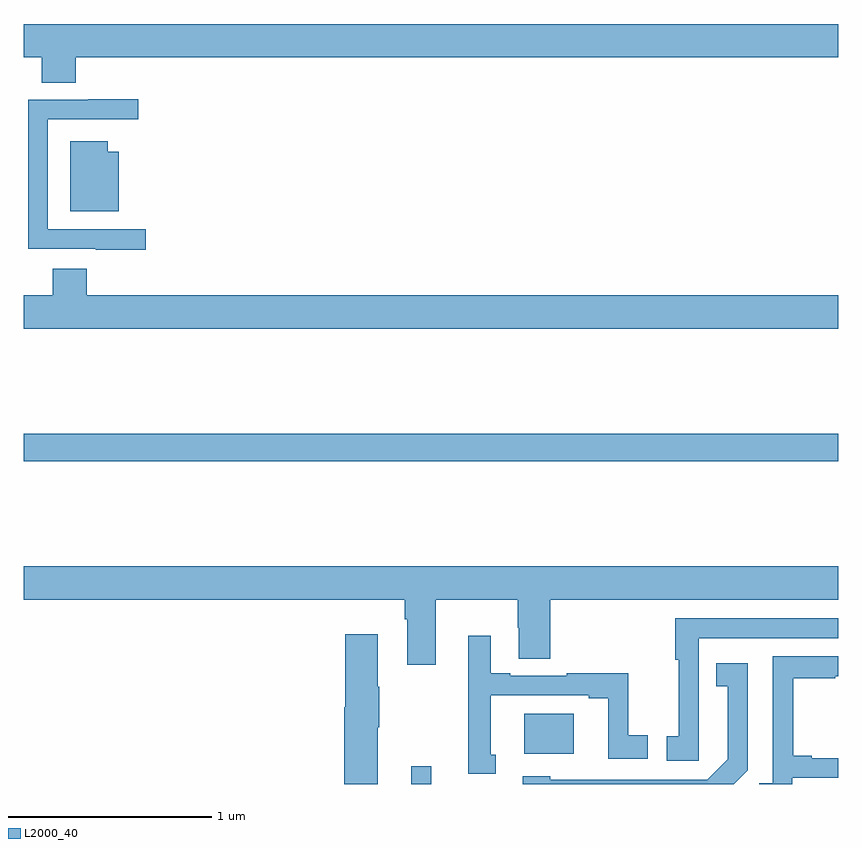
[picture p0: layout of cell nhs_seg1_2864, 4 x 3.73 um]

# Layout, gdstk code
import gdstk
lib = gdstk.Library(unit=1e-6, precision=1e-09)
def R(c, l, rs):  # rectangles x0, y0, x1, y1
    for r in rs: c.add(gdstk.rectangle(r[:2], r[2:], *l))
def P(c, l, *ps):  # polygons
    for p in ps: c.add(gdstk.Polygon(p, *l))
L2000_40 = (2000, 40)

nhs_seg1_2864 = lib.new_cell('nhs_seg1_2864')
R(nhs_seg1_2864, L2000_40, [(268.904,512.199,269.001,512.287), (269.459,512.348,269.701,512.545), (267,513.784,271,513.92)])
P(nhs_seg1_2864, L2000_40, [(267.254,515.768),(271,515.768),(271,515.932),(267,515.932),(267,515.768),(267.089,515.768),(267.089,515.644),(267.254,515.644)],
  [(267.598,514.923),(267.117,514.923),(267.117,515.463),(267.562,515.463),(267.562,515.563),(267.317,515.563),(267.317,515.559),(267.021,515.559),(267.021,514.827),(267.353,514.827),(267.353,514.823),(267.598,514.823)],
  [(267.466,515.305),(267.413,515.305),(267.413,515.356),(267.227,515.356),(267.227,515.012),(267.466,515.012)],
  [(271,514.6),(267.308,514.6),(267.308,514.729),(267.143,514.729),(267.143,514.6),(267,514.6),(267,514.436),(271,514.436)],
  [(269.023,513.104),(269.425,513.104),(269.425,512.966),(269.432,512.966),(269.432,512.815),(269.585,512.815),(269.585,513.104),(271,513.104),(271,513.268),(267,513.268),(267,513.104),(268.871,513.104),(268.871,513.008),(268.883,513.008),(268.883,512.784),(269.023,512.784)],
  [(270.316,512.588),(270.315,512.588),(270.315,512.916),(271,512.916),(271,513.012),(270.199,513.012),(270.199,512.809),(270.217,512.809),(270.217,512.433),(270.159,512.433),(270.159,512.313),(270.316,512.313)],
  [(268.738,512.477),(268.746,512.477),(268.746,512.677),(268.738,512.677),(268.738,512.935),(268.58,512.935),(268.58,512.577),(268.574,512.577),(268.574,512.199),(268.738,512.199)],
  [(269.317,512.343),(269.293,512.343),(269.293,512.634),(269.774,512.634),(269.774,512.621),(269.87,512.621),(269.87,512.322),(270.064,512.322),(270.064,512.438),(269.97,512.438),(269.97,512.743),(269.668,512.743),(269.668,512.73),(269.389,512.73),(269.389,512.743),(269.293,512.743),(269.293,512.926),(269.183,512.926),(269.183,512.681),(269.184,512.681),(269.184,512.249),(269.317,512.249)],
  [(270.774,512.229),(271,512.229),(271,512.325),(270.871,512.325),(270.871,512.338),(270.779,512.338),(270.779,512.718),(270.986,512.718),(270.986,512.729),(271,512.729),(271,512.826),(270.678,512.826),(270.678,512.203),(270.613,512.203),(270.613,512.199),(270.774,512.199)],
  [(270.555,512.266),(270.555,512.791),(270.4,512.791),(270.4,512.678),(270.458,512.678),(270.458,512.321),(270.357,512.22),(269.586,512.22),(269.586,512.236),(269.45,512.236),(269.45,512.199),(270.488,512.199)])

lib.write_gds('nhs_seg1_2864.gds')
